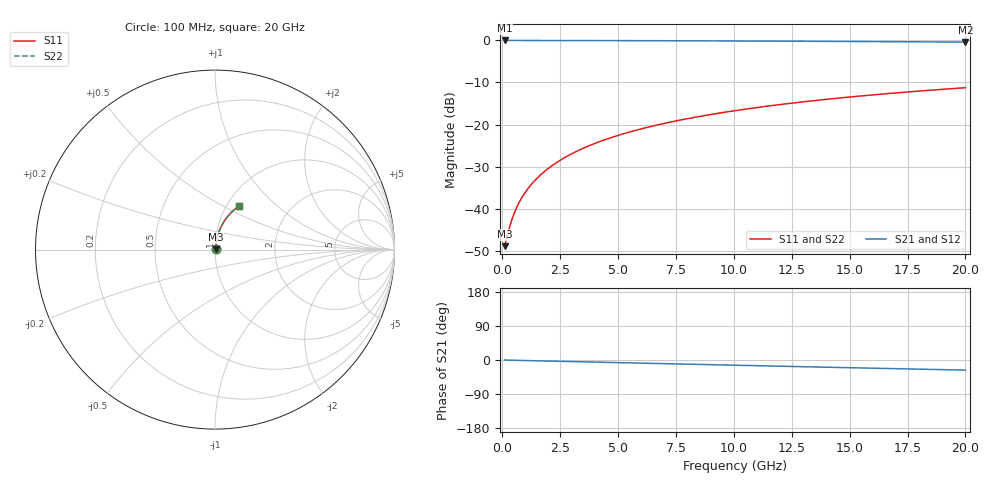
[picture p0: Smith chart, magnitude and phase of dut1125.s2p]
! Touchstone file exported from HFSS 2026.1.0
!  File:  C:/ffzhzh/LocalFiles/Ansys_Project_Files/temp_train_TMRDL_1125_1783161685_55132.aedt
!  Generated:  06:42:39 PM Jul  4, 2026
!  Design:  TMRDL
!  Project:  temp_train_TMRDL_1125_1783161685_55132
! Variables:
!  h_bsmrdl = 2um
!  h_ox = 20um
!  h_rdl = 5um
!  h_sub = 80um
!  h_tmrdl = 2.5um
!  h_tsv = 80um
!  h_via = 3um
!  l_bsmrdl = 300um
!  l_sub = 756.18um
!  l_tmrdl = 356.18um
!  m_sub = 200um
!  pitch = 39.19um
!  r_tsv = 6um
!  s_tmrdl = 10um
!  w_bsmrdl = 18um
!  w_sub = 500um
!  w_tmrdl = 16.89um
!  x_tsv_center1 = 364.625um
!  x_tsv_center2 = 682.625um
!  x_tsv_center3 = 1055.695um
!  x_tsv_center4 = 1373.695um
!  x_tsv_center5 = 1746.765um
!  x_tsv_center6 = 2064.765um
# GHz S MA R 50.000000
! Terminal data exported
! Port[1] = TM_RDL1_1_T1
! Port[2] = TM_RDL1_1_T2
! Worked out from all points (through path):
!   200 points, 100 MHz to 20 GHz, reference 50 ohm
!   highest |S21| = -0.03 dB at 100 MHz (marker M1); lowest = -0.4 dB at 20 GHz (marker M2)
!   group delay of S21, straight-line fit = 3.72 ps
!   lowest |S11| = -48.8 dB at 100 MHz (marker M3), VSWR 1.01, Z = 50.3 + j0.163 ohm
!   |S11| at or under -10 dB: start of sweep to end of sweep
!   |S22| runs from -48.8 to -11.2 dB; largest |S21 - S12| = 3.4e-15
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0.1  0.003619 26.7  0.9968 -0.1  0.9968 -0.1  0.003619 26.7
! Gamma 0 0 0 0
! Port Impedance 50 0 50 0
0.3  0.00589 54.7  0.9966 -0.4  0.9966 -0.4  0.00589 54.7
0.4  0.007267 61.0  0.9965 -0.6  0.9965 -0.6  0.007267 61.0
0.5  0.008682 65.2  0.9964 -0.7  0.9964 -0.7  0.008682 65.2
0.6  0.01011 68.1  0.9963 -0.9  0.9963 -0.9  0.01011 68.1
0.7  0.01155 70.3  0.9962 -1.0  0.9962 -1.0  0.01155 70.3
0.9  0.01442 73.4  0.9961 -1.3  0.9961 -1.3  0.01442 73.4
1.2  0.01876 76.2  0.9959 -1.7  0.9959 -1.7  0.01876 76.2
1.4  0.02167 77.4  0.9958 -2.0  0.9958 -2.0  0.02167 77.4
1.7  0.02605 78.6  0.9956 -2.4  0.9956 -2.4  0.02605 78.6
2.2  0.03339 79.7  0.9953 -3.1  0.9953 -3.1  0.03339 79.7
2.8  0.04222 80.3  0.9948 -3.9  0.9948 -3.9  0.04222 80.3
3.5  0.05253 80.3  0.9942 -4.9  0.9942 -4.9  0.05253 80.3
4.2  0.06282 80.0  0.9935 -5.8  0.9935 -5.8  0.06282 80.0
5  0.07453 79.4  0.9925 -6.9  0.9925 -6.9  0.07453 79.4
5.9  0.08763 78.6  0.9912 -8.2  0.9912 -8.2  0.08763 78.6
6.8  0.1006 77.6  0.9897 -9.4  0.9897 -9.4  0.1006 77.6
8.3  0.122 75.9  0.9869 -11.5  0.9869 -11.5  0.122 75.9
10.1  0.1472 73.7  0.9829 -13.9  0.9829 -13.9  0.1472 73.7
13.4  0.1918 69.6  0.9742 -18.3  0.9742 -18.3  0.1918 69.6
16.7  0.2342 65.5  0.9641 -22.5  0.9641 -22.5  0.2342 65.5
20  0.2741 61.4  0.9528 -26.7  0.9528 -26.7  0.2741 61.4
